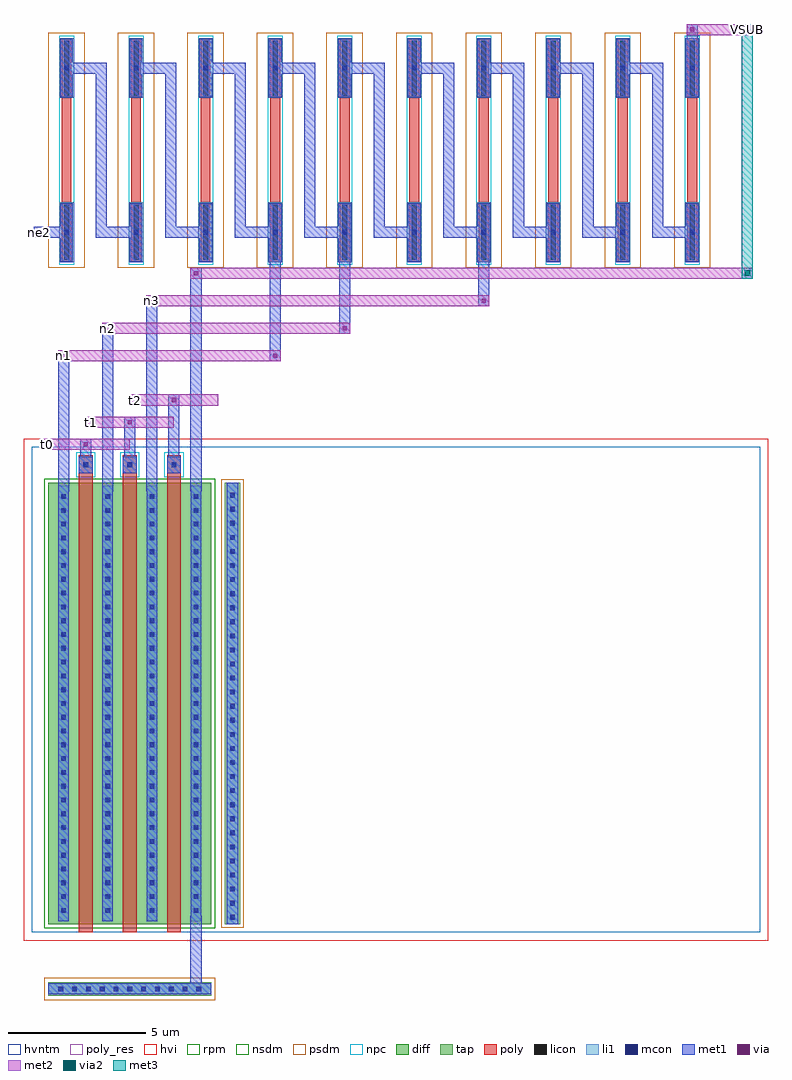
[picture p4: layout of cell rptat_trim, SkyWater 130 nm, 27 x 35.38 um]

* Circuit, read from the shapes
.subckt rptat_trim VSUB n1 n2 n3 ne2 t0 t1 t2
XM1 n2 t0 n1 VSUB sky130_fd_pr__nfet_g5v0d10v5 w=16 l=0.5
XM2 n3 t1 n2 VSUB sky130_fd_pr__nfet_g5v0d10v5 w=16 l=0.5
XM3 VSUB t2 n3 VSUB sky130_fd_pr__nfet_g5v0d10v5 w=16 l=0.5
XR4 n4 ne2 VSUB sky130_fd_pr__res_high_po w=0.35 l=3.67
XR5 n5 n4 VSUB sky130_fd_pr__res_high_po w=0.35 l=3.67
XR6 n1 n5 VSUB sky130_fd_pr__res_high_po w=0.35 l=3.67
XR7 n2 n1 VSUB sky130_fd_pr__res_high_po w=0.35 l=3.67
XR8 n6 n2 VSUB sky130_fd_pr__res_high_po w=0.35 l=3.67
XR9 n3 n6 VSUB sky130_fd_pr__res_high_po w=0.35 l=3.67
XR10 n7 n3 VSUB sky130_fd_pr__res_high_po w=0.35 l=3.67
XR11 n8 n7 VSUB sky130_fd_pr__res_high_po w=0.35 l=3.67
XR12 n9 n8 VSUB sky130_fd_pr__res_high_po w=0.35 l=3.67
XR13 VSUB n9 VSUB sky130_fd_pr__res_high_po w=0.35 l=3.67
.ends

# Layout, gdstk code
import gdstk
lib = gdstk.Library(unit=1e-6, precision=1e-09)
def R(c, l, rs):  # rectangles x0, y0, x1, y1
    for r in rs: c.add(gdstk.rectangle(r[:2], r[2:], *l))
def A(c, l, x, y, w, h, nx, ny, dx, dy):  # array of equal rectangles
    R(c, l, [(x+i*dx, y+j*dy, x+i*dx+w, y+j*dy+h) for i in range(nx) for j in range(ny)])
diff = (65, 20)
tap = (65, 44)
poly_res = (66, 13)
poly = (66, 20)
licon = (66, 44)
li1 = (67, 20)
mcon = (67, 44)
met1 = (68, 20)
via = (68, 44)
met2 = (69, 20)
via2 = (69, 44)
met3 = (70, 20)
hvi = (75, 20)
rpm = (86, 20)
nsdm = (93, 44)
psdm = (94, 20)
npc = (95, 20)
hvntm = (125, 20)

res_5k = lib.new_cell('res_5k')
R(res_5k, poly_res, [(-0.175,0,0.175,3.79), (-0.175,0,0.175,3.79)])
R(res_5k, poly, [(-0.175,-2.16,0.175,0), (-0.175,-2.16,0.175,0), (-0.175,0,0.175,3.79), (-0.175,0,0.175,3.79), (-0.175,3.79,0.175,5.95), (-0.175,3.79,0.175,5.95)])
R(res_5k, licon, [(-0.095,-2.08,0.095,-0.08), (-0.095,-2.08,0.095,-0.08), (-0.095,3.87,0.095,5.87), (-0.095,3.87,0.095,5.87)])
R(res_5k, li1, [(-0.27,-2.16,0.27,0), (-0.27,-2.16,0.27,0), (-0.27,3.79,0.27,5.95), (-0.27,3.79,0.27,5.95)])
R(res_5k, mcon, [(-0.085,-1.165,0.085,-0.995), (-0.085,-1.165,0.085,-0.995), (-0.085,4.785,0.085,4.955), (-0.085,4.785,0.085,4.955)])
R(res_5k, met1, [(-0.23,-2.14,0.23,-0.02), (-0.23,-2.14,0.23,-0.02), (-0.23,3.81,0.23,5.93), (-0.23,3.81,0.23,5.93)])
R(res_5k, rpm, [(-0.66,-2.36,0.66,6.15), (-0.66,-2.36,0.66,6.15)])
R(res_5k, psdm, [(-0.66,-2.36,0.66,6.15), (-0.66,-2.36,0.66,6.15)])
R(res_5k, npc, [(-0.275,-2.26,0.275,6.05), (-0.275,-2.26,0.275,6.05)])

rptat_trim = lib.new_cell('rptat_trim')
R(rptat_trim, diff, [(1,-23.8,6.9,-7.8)])
R(rptat_trim, tap, [(1,-26.4,6.9,-25.9), (7.4,-23.8,7.95,-7.8)])
A(rptat_trim, poly, 2.1, -24.1, 0.5, 17.3, 3, 1, 1.6, 0)
A(rptat_trim, licon, 1.365, -26.235, 0.17, 0.17, 11, 1, 0.5, 0)
A(rptat_trim, licon, 7.59, -23.635, 0.17, 0.17, 1, 31, 0, 0.51)
A(rptat_trim, licon, 1.465, -23.385, 0.17, 0.17, 4, 31, 1.6, 0.5)
A(rptat_trim, licon, 2.265, -7.235, 0.17, 0.17, 3, 1, 1.6, 0)
A(rptat_trim, li1, 1.36, -23.7, 0.38, 15.8, 4, 1, 1.6, 0)
A(rptat_trim, li1, 2.1, -7.45, 0.5, 0.6, 3, 1, 1.6, 0)
R(rptat_trim, li1, [(1,-26.35,6.9,-25.95), (7.46,-23.8,7.89,-7.8)])
A(rptat_trim, mcon, 1.365, -26.235, 0.17, 0.17, 11, 1, 0.5, 0)
A(rptat_trim, mcon, 7.59, -23.635, 0.17, 0.17, 1, 31, 0, 0.51)
A(rptat_trim, mcon, 1.465, -23.385, 0.17, 0.17, 4, 31, 1.6, 0.5)
A(rptat_trim, mcon, 2.265, -7.235, 0.17, 0.17, 3, 1, 1.6, 0)
A(rptat_trim, met1, 1.36, -23.7, 0.38, 15.8, 4, 1, 1.6, 0)
A(rptat_trim, met1, 2.1, -7.45, 0.5, 0.6, 3, 1, 1.6, 0)
A(rptat_trim, met1, 2.72, 1.08, 1.66, 0.4, 9, 1, 2.52, 0)
A(rptat_trim, met1, 2.72, 1.08, 0.4, 6.35, 9, 1, 2.52, 0)
A(rptat_trim, met1, 1.46, 7.03, 1.66, 0.4, 9, 1, 2.52, 0)
R(rptat_trim, met1, [(1,-26.35,6.9,-25.95), (6.15,-26.35,6.55,-23.5), (7.46,-23.8,7.89,-7.8), (1.35,-8.1,1.75,-3), (2.95,-8.1,3.35,-2), (4.55,-8.1,4.95,-1), (6.15,-8.1,6.55,0), (2.15,-7.35,2.55,-6.2), (3.75,-7.35,4.15,-5.4), (5.35,-7.35,5.75,-4.6), (9.02,-3.4,9.42,1.48), (11.54,-2.4,11.94,1.48), (16.58,-1.4,16.98,1.48), (0.46,1.08,1.86,1.48), (24.14,7.03,24.54,8.83)])
R(rptat_trim, via, [(2.275,-6.475,2.425,-6.325), (3.875,-5.675,4.025,-5.525), (5.475,-4.875,5.625,-4.725), (1.475,-3.275,1.625,-3.125), (9.145,-3.275,9.295,-3.125), (3.075,-2.275,3.225,-2.125), (11.665,-2.275,11.815,-2.125), (4.675,-1.275,4.825,-1.125), (16.705,-1.275,16.855,-1.125), (6.275,-0.275,6.425,-0.125), (24.265,8.555,24.415,8.705)])
R(rptat_trim, met2, [(0.75,-6.6,3.95,-6.2), (2.35,-5.8,5.55,-5.4), (3.95,-5,7.15,-4.6), (1.35,-3.4,9.42,-3), (2.95,-2.4,11.94,-2), (4.55,-1.4,16.98,-1), (6.15,-0.4,26.54,0), (24.14,8.43,26.54,8.83)])
R(rptat_trim, via2, [(26.24,-0.3,26.44,-0.1), (26.24,8.53,26.44,8.73)])
R(rptat_trim, met3, [(26.14,-0.4,26.54,8.83)])
R(rptat_trim, hvi, [(0.1,-24.4,27.1,-6.2)])
R(rptat_trim, nsdm, [(0.85,-23.95,7.05,-7.65)])
R(rptat_trim, psdm, [(0.85,-26.55,7.05,-25.75), (7.27,-23.93,8.08,-7.67)])
A(rptat_trim, npc, 2, -7.6, 0.7, 0.9, 3, 1, 1.6, 0)
R(rptat_trim, hvntm, [(0.4,-24.1,26.8,-6.5)])
rptat_trim.add(gdstk.Reference(res_5k, (1.66,2.36)))
rptat_trim.add(gdstk.Reference(res_5k, (4.18,2.36)))
rptat_trim.add(gdstk.Reference(res_5k, (6.7,2.36)))
rptat_trim.add(gdstk.Reference(res_5k, (9.22,2.36)))
rptat_trim.add(gdstk.Reference(res_5k, (11.74,2.36)))
rptat_trim.add(gdstk.Reference(res_5k, (14.26,2.36)))
rptat_trim.add(gdstk.Reference(res_5k, (16.78,2.36)))
rptat_trim.add(gdstk.Reference(res_5k, (19.3,2.36)))
rptat_trim.add(gdstk.Reference(res_5k, (21.82,2.36)))
rptat_trim.add(gdstk.Reference(res_5k, (24.34,2.36)))
rptat_trim.add(gdstk.Label('ne2', (0.66,1.28), layer=68, texttype=5))
rptat_trim.add(gdstk.Label('n3', (4.75,-1.2), layer=69, texttype=5))
rptat_trim.add(gdstk.Label('VSUB', (26.34,8.63), layer=69, texttype=5))
rptat_trim.add(gdstk.Label('n2', (3.15,-2.2), layer=69, texttype=5))
rptat_trim.add(gdstk.Label('n1', (1.55,-3.2), layer=69, texttype=5))
rptat_trim.add(gdstk.Label('t2', (4.15,-4.8), layer=69, texttype=5))
rptat_trim.add(gdstk.Label('t1', (2.55,-5.6), layer=69, texttype=5))
rptat_trim.add(gdstk.Label('t0', (0.95,-6.4), layer=69, texttype=5))

lib.write_gds('rptat_trim.gds')
